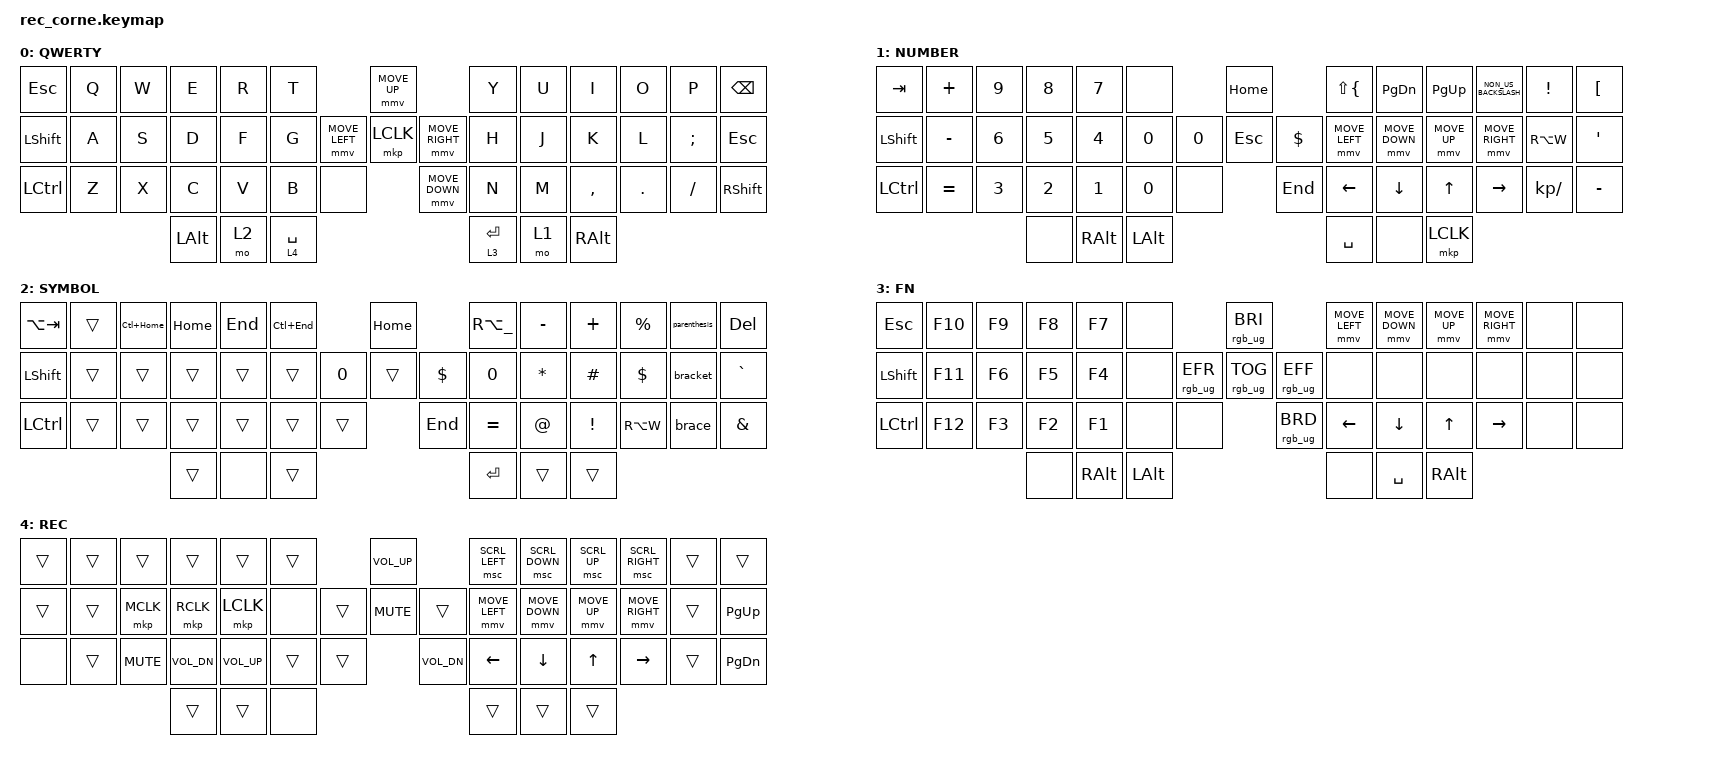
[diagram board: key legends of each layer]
#define ZMK_POINTING_DEFAULT_MOVE_VAL 1200  // 600
#define ZMK_POINTING_DEFAULT_SCRL_VAL 25   // 10

#include <input/processors.dtsi>
#include <zephyr/dt-bindings/input/input-event-codes.h>
#include <behaviors.dtsi>
#include <dt-bindings/zmk/bt.h>
#include <dt-bindings/zmk/keys.h>
#include <dt-bindings/zmk/outputs.h>
#include <dt-bindings/zmk/pointing.h>
#include <dt-bindings/zmk/rgb.h>

&mmv_input_listener { input-processors = <&zip_xy_scaler 2 1>; };

&msc_input_listener { input-processors = <&zip_scroll_scaler 2 1>; };

&msc {
    acceleration-exponent = <5>;   // força da aceleração
    time-to-max-speed-ms = <500>;   // quanto tempo pra acelerar
    delay-ms = <0>;                // espera antes de scrollar
};

&mmv {
    acceleration-exponent = <2>;    // curva da aceleração
    time-to-max-speed-ms = <400>;   // quanto tempo leva pra acelerar
    trigger-period-ms = <16>;       // frequência de atualização
};

/ {
    behaviors {

        td0: td0 {
            compatible = "zmk,behavior-tap-dance";
            display-name = "Shift/Caps Lock Tap Dance";
            #binding-cells = <0>;
            bindings = <&kp LEFT_SHIFT>, <&kp CAPS>;
        };

        parenthesis: parenthesis {
            compatible = "zmk,behavior-tap-dance";
            label = "PARENTHESIS";
            #binding-cells = <0>;
            bindings = <&kp RIGHT_PARENTHESIS>, <&kp LEFT_PARENTHESIS>;
        };

        bracket: bracket {
            compatible = "zmk,behavior-tap-dance";
            label = "BRACKET";
            #binding-cells = <0>;
            bindings = <&kp BSLH>, <&kp RIGHT_BRACKET>;
        };

        brace: brace {
            compatible = "zmk,behavior-tap-dance";
            label = "BRACE";
            #binding-cells = <0>;
            bindings = <&kp PIPE>, <&kp RIGHT_BRACE>;
        };
    };

    rgb_encoder: rgb_encoder {
        compatible = "zmk,behavior-sensor-rotate";
        #sensor-binding-cells = <0>;
        bindings = <&rgb_ug RGB_BRI>, <&rgb_ug RGB_BRD>;
    };

    scroll_encoder: scroll_encoder {
        compatible = "zmk,behavior-sensor-rotate";
        #sensor-binding-cells = <0>;
        bindings = <&msc SCRL_DOWN>, <&msc SCRL_UP>;

        tap-ms = <100>;
    };

    combos {
        compatible = "zmk,combos";

        device1 {
            bindings = <&bt BT_SEL 0>;
            key-positions = <44 18>;
            layers = <3>;
        };

        device2 {
            bindings = <&bt BT_SEL 1>;
            key-positions = <44 32>;
            layers = <3>;
        };

        device3 {
            bindings = <&bt BT_SEL 2>;
            key-positions = <44 31>;
            layers = <3>;
        };

        device4 {
            bindings = <&bt BT_SEL 3>;
            key-positions = <44 30>;
            layers = <3>;
        };

        device5 {
            bindings = <&bt BT_SEL 4>;
            key-positions = <44 17>;
            layers = <3>;
        };

        lsysreset {
            bindings = <&sys_reset>;
            key-positions = <44 28>;
        };

        rsysreset {
            bindings = <&sys_reset>;
            key-positions = <45 41>;
        };

        lbootloader {
            bindings = <&bootloader>;
            key-positions = <44 13>;
        };

        rbootloader {
            bindings = <&bootloader>;
            key-positions = <27 45>;
        };

        sutudiounlock {
            bindings = <&studio_unlock>;
            key-positions = <44 0>;
        };

        outble {
            bindings = <&out OUT_BLE>;
            key-positions = <44 14>;
            layers = <3>;
        };

        outusb {
            bindings = <&out OUT_USB>;
            key-positions = <44 29>;
            layers = <3>;
        };
    };

    keymap {
        compatible = "zmk,keymap";

        default_layer {
            display-name = "QWERTY";
            bindings = <
&kp ESC    &kp Q  &kp W  &kp E     &kp R  &kp T                                 &mmv MOVE_UP                     &kp Y        &kp U  &kp I            &kp O    &kp P     &kp BSPC
&kp LSHFT  &kp A  &kp S  &kp D     &kp F  &kp G                 &mmv MOVE_LEFT  &mkp LCLK       &mmv MOVE_RIGHT  &kp H        &kp J  &kp K            &kp L    &kp SEMI  &kp ESC
&kp LCTRL  &kp Z  &kp X  &kp C     &kp V  &kp B        &none                    &mmv MOVE_DOWN                   &kp N        &kp M  &kp COMMA        &kp DOT  &kp FSLH  &kp RSHIFT
                         &kp LALT  &mo 2  &lt 4 SPACE                                                            &lt 3 ENTER  &mo 1  &kp RALT
            >;
        };

        lower_numer {
            display-name = "NUMBER";
            bindings = <
&kp TAB    &kp PLUS   &kp N9  &kp N8  &kp N7    &none                          &kp HOME            &kp LS(LEFT_BRACE)  &kp PG_DN       &kp PG_UP     &kp NON_US_BACKSLASH  &kp EXCL       &kp LBKT
&kp LSHFT  &kp MINUS  &kp N6  &kp N5  &kp N4    &kp N0                 &kp N0  &kp ESC   &kp DLLR  &mmv MOVE_LEFT      &mmv MOVE_DOWN  &mmv MOVE_UP  &mmv MOVE_RIGHT       &kp RA(W)      &kp SQT
&kp LCTRL  &kp EQUAL  &kp N3  &kp N2  &kp N1    &kp N0        &none            &kp END             &kp LEFT            &kp DOWN        &kp UP        &kp RIGHT             &kp KP_DIVIDE  &kp MINUS
                              &none   &kp RALT  &kp LALT                                       &kp SPACE           &none           &mkp LCLK
            >;
        };

        raise_symbol {
            display-name = "SYMBOL";
            bindings = <
&kp LA(TAB)  &trans  &kp LC(HOME)  &kp HOME  &kp END  &kp LC(END)                    &kp HOME            &kp RA(UNDERSCORE)  &kp MINUS  &kp PLUS  &kp PRCNT  &parenthesis  &kp DELETE
&kp LSHFT    &trans  &trans        &trans    &trans   &trans                 &kp N0  &trans    &kp DLLR  &kp N0              &kp STAR   &kp HASH  &kp DLLR   &bracket      &kp GRAVE
&kp LCTRL    &trans  &trans        &trans    &trans   &trans       &trans            &kp END             &kp EQUAL           &kp AT     &kp EXCL  &kp RA(W)  &brace        &kp AMPS
                                   &trans    &none    &trans                                             &kp RET             &trans     &trans
            >;
        };

        fn_layer {
            display-name = "FN";
            bindings = <
&kp ESC      &kp F10  &kp F9  &kp F8  &kp F7  &none                                 &rgb_ug RGB_BRI                   &mmv MOVE_LEFT  &mmv MOVE_DOWN  &mmv MOVE_UP  &mmv MOVE_RIGHT  &none  &none
&kp LSHFT    &kp F11  &kp F6  &kp F5  &kp F4  &none                &rgb_ug RGB_EFR  &rgb_ug RGB_TOG  &rgb_ug RGB_EFF  &none           &none           &none         &none            &none  &none
&kp LCTRL    &kp F12  &kp F3  &kp F2  &kp F1  &none       &none                     &rgb_ug RGB_BRD                   &kp LEFT        &kp DOWN        &kp UP        &kp RIGHT        &none  &none
                              &none   &kp RALT  &kp LALT                                                              &none           &kp SPACE       &kp RALT
            >;
        };

        rec_layer {
            display-name = "REC";
            bindings = <
&trans  &trans  &trans      &trans        &trans        &trans                    &kp C_VOL_UP          &msc SCRL_LEFT  &msc SCRL_DOWN  &msc SCRL_UP  &msc SCRL_RIGHT  &trans  &trans
&trans  &trans  &mkp MCLK   &mkp RCLK     &mkp LCLK     &none             &trans  &kp C_MUTE    &trans  &mmv MOVE_LEFT  &mmv MOVE_DOWN  &mmv MOVE_UP  &mmv MOVE_RIGHT  &trans  &kp PG_UP
&none   &trans  &kp C_MUTE  &kp C_VOL_DN  &kp C_VOL_UP  &trans  &trans            &kp C_VOL_DN          &kp LEFT_ARROW  &kp DOWN        &kp UP        &kp RIGHT        &trans  &kp PG_DN
                            &trans        &trans        &none                                           &trans          &trans          &trans
            >;
        };
    };
};
